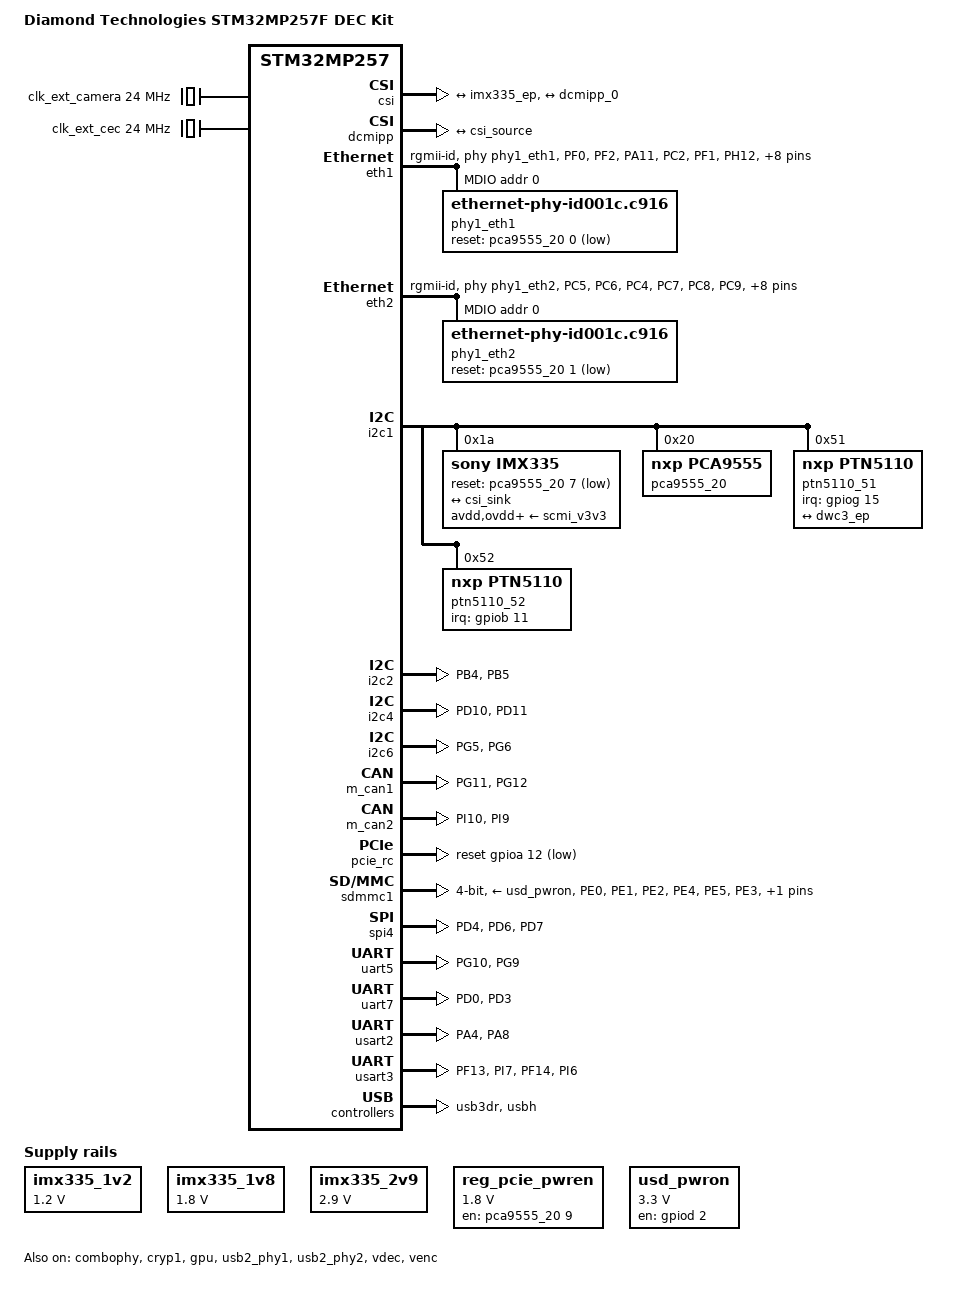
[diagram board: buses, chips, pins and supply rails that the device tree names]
// SPDX-License-Identifier: (GPL-2.0-only OR BSD-3-Clause)
/*
 * Copyright (C) 2026 Diamond Technologies
 *
 * Diamond Technologies STM32MP257F DEC Kit
 * (DEC SOM on DEC carrier board)
 */

/dts-v1/;

#include <dt-bindings/pinctrl/stm32-pinfunc.h>
#include <dt-bindings/gpio/gpio.h>
#include <dt-bindings/input/input.h>
#include <dt-bindings/leds/common.h>
#include <dt-bindings/rtc/rtc-stm32.h>
#include <dt-bindings/usb/pd.h>
#include <dt-bindings/regulator/st,stm32mp25-regulator.h>

#include "stm32mp257.dtsi"
#include "stm32mp25xf.dtsi"
#include "stm32mp25xxak-pinctrl.dtsi"
#include "stm32mp-dec-som.dtsi"

/ {
	model = "Diamond Technologies STM32MP257F DEC Kit";
	compatible = "dec,stm32mp257f-dec-kit", "st,stm32mp257";

	aliases {
		ethernet0 = &eth1;
		ethernet1 = &eth2;
		serial0 = &usart2;
		serial1 = &usart3;
		serial2 = &lpuart1;
	};

	chosen {
		stdout-path = "serial0:115200n8";
		#address-cells = <2>;
		#size-cells = <2>;
		ranges;

		framebuffer {
			compatible = "simple-framebuffer";
			clocks = <&rcc CK_BUS_LTDC>, <&rcc CK_KER_LTDC>,
				 <&rcc CK_BUS_LVDS>, <&rcc CK_KER_LVDSPHY>;
			status = "disabled";
		};
	};

	clocks {
		clk_ext_camera: clk-ext-camera {
			#clock-cells = <0>;
			compatible = "fixed-clock";
			clock-frequency = <24000000>;
		};

		clk_ext_cec: clk-ext-cec {
			#clock-cells = <0>;
			compatible = "fixed-clock";
			clock-frequency = <24000000>;
		};
	};

	imx335_1v2: imx335-1v2 {
		compatible = "regulator-fixed";
		regulator-name = "imx335-dvdd";
		regulator-min-microvolt = <1200000>;
		regulator-max-microvolt = <1200000>;
		regulator-always-on;
	};

	imx335_1v8: imx335-1v8 {
		compatible = "regulator-fixed";
		regulator-name = "imx335-ovdd";
		regulator-min-microvolt = <1800000>;
		regulator-max-microvolt = <1800000>;
		regulator-always-on;
	};

	imx335_2v9: imx335-2v9 {
		compatible = "regulator-fixed";
		regulator-name = "imx335-avdd";
		regulator-min-microvolt = <2900000>;
		regulator-max-microvolt = <2900000>;
		regulator-always-on;
	};

	reg_pcie_pwren: regulator-pcie-pwren {
		compatible = "regulator-fixed";
		regulator-name = "pcie-pwren";
		regulator-min-microvolt = <1800000>;
		regulator-max-microvolt = <1800000>;
		gpio = <&pca9555_20 9 GPIO_ACTIVE_HIGH>;
		enable-active-high;
		regulator-always-on;
		status = "okay";
	};

	usd_pwron: usd-pwron {
		compatible = "regulator-fixed";
		regulator-name = "usd-pwron";
		regulator-min-microvolt = <3300000>;
		regulator-max-microvolt = <3300000>;
		gpio = <&gpiod 2 GPIO_ACTIVE_HIGH>;
		enable-active-high;
	};
};

&combophy {
	clocks = <&rcc CK_BUS_USB3PCIEPHY>, <&rcc CK_KER_USB3PCIEPHY>;
	clock-names = "apb-clk", "ker-clk";
	st,rx_equalizer = <1>;
	status = "okay";
};

&cryp1 {
	status = "okay";
};

&csi {
	vdd-supply = <&scmi_vddcore>;
	vdda18-supply = <&scmi_v1v8>;
	status = "okay";

	ports {
		#address-cells = <1>;
		#size-cells = <0>;

		port@0 {
			reg = <0>;
			csi_sink: endpoint {
				remote-endpoint = <&imx335_ep>;
				data-lanes = <1 2>;
				bus-type = <4>;
			};
		};

		port@1 {
			reg = <1>;
			csi_source: endpoint {
				remote-endpoint = <&dcmipp_0>;
			};
		};
	};
};

&dcmipp {
	status = "okay";

	port {
		dcmipp_0: endpoint {
			remote-endpoint = <&csi_source>;
			bus-type = <4>;
		};
	};
};

&eth1 {
	pinctrl-names = "default", "sleep";
	pinctrl-0 = <&eth1_mdio_pins_mx>, <&eth1_rgmii_pins_mx>;
	pinctrl-1 = <&eth1_mdio_sleep_pins_mx>, <&eth1_rgmii_sleep_pins_mx>;
	phy-mode = "rgmii-id";
	max-speed = <1000>;
	phy-handle = <&phy1_eth1>;
	st,eth-ptp-from-rcc;
	st,eth-clk-sel;
	snps,ext-systime;
	status = "okay";

	mdio1 {
		#address-cells = <1>;
		#size-cells = <0>;
		compatible = "snps,dwmac-mdio";

		phy1_eth1: ethernet-phy@0 {
			compatible = "ethernet-phy-id001c.c916";
			reset-gpios = <&pca9555_20 0 GPIO_ACTIVE_LOW>;
			reset-assert-us = <10000>;
			reset-deassert-us = <80000>;
			realtek,eee-disable;
			reg = <0>;
		};
	};
};

&eth2 {
	pinctrl-names = "default", "sleep";
	pinctrl-0 = <&eth2_mdio_pins_mx>, <&eth2_rgmii_pins_mx>;
	pinctrl-1 = <&eth2_mdio_sleep_pins_mx>, <&eth2_rgmii_sleep_pins_mx>;
	phy-mode = "rgmii-id";
	max-speed = <1000>;
	phy-handle = <&phy1_eth2>;
	st,eth-ptp-from-rcc;
	st,eth-clk-sel;
	snps,ext-systime;
	status = "okay";

	mdio1 {
		#address-cells = <1>;
		#size-cells = <0>;
		compatible = "snps,dwmac-mdio";

		phy1_eth2: ethernet-phy@0 {
			compatible = "ethernet-phy-id001c.c916";
			reset-gpios = <&pca9555_20 1 GPIO_ACTIVE_LOW>;
			reset-assert-us = <10000>;
			reset-deassert-us = <80000>;
			realtek,eee-disable;
			reg = <0>;
		};
	};
};

&gpu {
	contiguous-area = <&gpu_reserved>;
	status = "okay";
};

&hpdma {
	memory-region = <&hpdma1_lli>;
	status = "okay";
};

&hpdma2 {
	memory-region = <&hpdma2_lli>;
	status = "okay";
};

&hpdma3 {
	memory-region = <&hpdma3_lli>;
	status = "okay";
};

/* I2C1 carrier-side children (controller config + on-SOM children are in SOM dtsi) */
&i2c1 {
	imx335: camera@1a {
		compatible = "sony,imx335";
		reg = <0x1a>;
		clocks = <&clk_ext_camera>;
		avdd-supply = <&scmi_v3v3>;
		ovdd-supply = <&scmi_v3v3>;
		dvdd-supply = <&scmi_v3v3>;
		reset-gpios = <&pca9555_20 7 GPIO_ACTIVE_LOW>;
		status = "okay";

		port {
			imx335_ep: endpoint {
				remote-endpoint = <&csi_sink>;
				clock-lanes = <0>;
				data-lanes = <1 2>;
				link-frequencies = /bits/ 64 <594000000>;
			};
		};
	};

	pca9555_20: pca9555@20 {
		compatible = "nxp,pca9555";
		gpio-controller;
		#gpio-cells = <2>;
		reg = <0x20>;
		gpio-line-names =
			"pca9555_20-0",  "pca9555_20-1",  "pca9555_20-2",  "pca9555_20-3",
			"pca9555_20-4",  "pca9555_20-5",  "pca9555_20-6",  "pca9555_20-7",
			"pca9555_20-8",  "pca9555_20-9",  "pca9555_20-10", "pca9555_20-11",
			"pca9555_20-12", "pca9555_20-13", "pca9555_20-14", "pca9555_20-15";
	};

	ptn5110_51: tcpc@51 {
		compatible = "nxp,ptn5110";
		reg = <0x51>;
		pinctrl-0 = <&ptn5110_51_pins>;
		interrupt-parent = <&gpiog>;
		/*
		 * PTN5110's nALERT is open-drain, asserted low, and stays low
		 * until the driver clears every event in the ALERT register.
		 * Edge-triggered IRQs lose any event the driver fails to clear
		 * on the first pass — there's no second falling edge while
		 * nALERT is still held low. Level-low retriggers the handler
		 * until the chip actually releases the line.
		 */
		interrupts = <15 IRQ_TYPE_LEVEL_LOW>;
		status = "okay";

		usbc_a_con: connector {
			compatible = "usb-c-connector";
			label = "USB-C(A)";
			power-role = "dual";
			data-role = "dual";
			try-power-role = "sink";
			source-pdos = <PDO_FIXED(5000, 3000, PDO_FIXED_USB_COMM)>;
			sink-pdos = <PDO_FIXED(5000, 3000, PDO_FIXED_USB_COMM)
				     PDO_VAR(5000, 20000, 3000)>;
			op-sink-microwatt = <15000000>;
			self-powered;
			status = "okay";

			port {
				typec_a_ep: endpoint {
					remote-endpoint = <&dwc3_ep>;
				};
			};
		};
	};

	ptn5110_52: tcpc@52 {
		compatible = "nxp,ptn5110";
		reg = <0x52>;
		pinctrl-0 = <&ptn5110_52_pins>;
		interrupt-parent = <&gpiob>;
		/* See comment on ptn5110_51 — same open-drain alert. */
		interrupts = <11 IRQ_TYPE_LEVEL_LOW>;
		status = "okay";

		usbc_c_con: connector {
			compatible = "usb-c-connector";
			label = "USB-C(C)";
			power-role = "source";
			data-role = "host";
			source-pdos = <PDO_FIXED(5000, 3000, PDO_FIXED_USB_COMM)>;
			self-powered;
			status = "okay";
		};
	};
};

&i2c2 {
	pinctrl-names = "default", "sleep";
	pinctrl-0 = <&i2c2_pins_mx>;
	pinctrl-1 = <&i2c2_sleep_pins_mx>;
	status = "okay";
};

&i2c4 {
	pinctrl-names = "default", "sleep";
	pinctrl-0 = <&i2c4_pins_mx>;
	pinctrl-1 = <&i2c4_sleep_pins_mx>;
	status = "okay";
};

&i2c6 {
	pinctrl-names = "default", "sleep";
	pinctrl-0 = <&i2c6_pins_mx>;
	pinctrl-1 = <&i2c6_sleep_pins_mx>;
	status = "okay";
};

&ltdc {
	status = "disabled";
};

&lvds {
	status = "disabled";
};

&m_can1 {
	pinctrl-names = "default", "sleep";
	pinctrl-0 = <&fdcan1_pins_mx>;
	pinctrl-1 = <&fdcan1_sleep_pins_mx>;
	status = "okay";
};

&m_can2 {
	pinctrl-names = "default", "sleep";
	pinctrl-0 = <&fdcan2_pins_mx>;
	pinctrl-1 = <&fdcan2_sleep_pins_mx>;
	status = "okay";
};

&pcie_rc {
	power-supply = <&reg_pcie_pwren>;
	reset-gpios = <&gpioa 12 GPIO_ACTIVE_LOW>;
	wakeup-source;
	wake-gpios = <&gpioh 9 (GPIO_ACTIVE_LOW | GPIO_PULL_UP)>;
	status = "okay";
};

&pinctrl {
	eth1_mdio_pins_mx: eth1_mdio_mx-0 {
		pins1 {
			pinmux = <STM32_PINMUX('F', 0, AF10)>; /* ETH1_MDC */
			bias-disable;
			drive-push-pull;
			slew-rate = <2>;
			st,io-clk-edge = <0>;
			st,io-retime = <0>;
			st,io-delay-path = <0>;
			st,io-delay = <0>;
		};
		pins2 {
			pinmux = <STM32_PINMUX('F', 2, AF10)>; /* ETH1_MDIO */
			bias-disable;
			drive-push-pull;
			slew-rate = <0>;
			st,io-clk-edge = <0>;
			st,io-retime = <0>;
			st,io-delay-path = <0>;
			st,io-delay = <0>;
		};
	};

	eth1_mdio_sleep_pins_mx: eth1_mdio_sleep_mx-0 {
		pins {
			pinmux = <STM32_PINMUX('F', 0, ANALOG)>,
				 <STM32_PINMUX('F', 2, ANALOG)>;
		};
	};

	eth1_rgmii_pins_mx: eth1_rgmii_mx-0 {
		pins1 {
			pinmux = <STM32_PINMUX('A', 11, AF10)>, /* ETH1_RGMII_RX_CTL */
				 <STM32_PINMUX('C', 2, AF10)>,  /* ETH1_RGMII_RXD1 */
				 <STM32_PINMUX('F', 1, AF10)>,  /* ETH1_RGMII_RXD0 */
				 <STM32_PINMUX('H', 12, AF10)>, /* ETH1_RGMII_RXD2 */
				 <STM32_PINMUX('H', 13, AF10)>; /* ETH1_RGMII_RXD3 */
			bias-disable;
			drive-push-pull;
			st,io-clk-edge = <1>;
			st,io-retime = <1>;
			st,io-delay-path = <0>;
			st,io-delay = <0>;
		};
		pins2 {
			pinmux = <STM32_PINMUX('A', 13, AF10)>, /* ETH1_RGMII_TX_CTL */
				 <STM32_PINMUX('A', 15, AF10)>, /* ETH1_RGMII_TXD0 */
				 <STM32_PINMUX('C', 1, AF10)>,  /* ETH1_RGMII_TXD1 */
				 <STM32_PINMUX('H', 10, AF10)>, /* ETH1_RGMII_TXD2 */
				 <STM32_PINMUX('H', 11, AF10)>; /* ETH1_RGMII_TXD3 */
			bias-disable;
			drive-push-pull;
			slew-rate = <2>;
			st,io-clk-edge = <1>;
			st,io-retime = <1>;
			st,io-delay-path = <0>;
			st,io-delay = <0>;
		};
		pins3 {
			pinmux = <STM32_PINMUX('A', 14, AF10)>; /* ETH1_RGMII_RX_CLK */
			bias-disable;
			drive-push-pull;
			slew-rate = <0>;
		};
		pins4 {
			pinmux = <STM32_PINMUX('C', 0, AF12)>; /* ETH1_RGMII_GTX_CLK */
			bias-disable;
			drive-push-pull;
			slew-rate = <1>;
		};
	};

	eth1_rgmii_sleep_pins_mx: eth1_rgmii_sleep_mx-0 {
		pins {
			pinmux = <STM32_PINMUX('A', 11, ANALOG)>,
				 <STM32_PINMUX('A', 13, ANALOG)>,
				 <STM32_PINMUX('A', 14, ANALOG)>,
				 <STM32_PINMUX('A', 15, ANALOG)>,
				 <STM32_PINMUX('C', 0, ANALOG)>,
				 <STM32_PINMUX('C', 1, ANALOG)>,
				 <STM32_PINMUX('C', 2, ANALOG)>,
				 <STM32_PINMUX('F', 1, ANALOG)>,
				 <STM32_PINMUX('H', 10, ANALOG)>,
				 <STM32_PINMUX('H', 11, ANALOG)>,
				 <STM32_PINMUX('H', 12, ANALOG)>,
				 <STM32_PINMUX('H', 13, ANALOG)>;
		};
	};

	eth2_mdio_pins_mx: eth2_mdio_mx-0 {
		pins1 {
			pinmux = <STM32_PINMUX('C', 5, AF10)>; /* ETH2_MDIO */
			bias-disable;
			drive-push-pull;
			slew-rate = <0>;
		};
		pins2 {
			pinmux = <STM32_PINMUX('C', 6, AF10)>; /* ETH2_MDC */
			bias-disable;
			drive-push-pull;
			slew-rate = <2>;
		};
	};

	eth2_mdio_sleep_pins_mx: eth2_mdio_sleep_mx-0 {
		pins {
			pinmux = <STM32_PINMUX('C', 5, ANALOG)>,
				 <STM32_PINMUX('C', 6, ANALOG)>;
		};
	};

	eth2_rgmii_pins_mx: eth2_rgmii_mx-0 {
		pins1 {
			pinmux = <STM32_PINMUX('C', 4, AF10)>,  /* ETH2_RGMII_TX_CTL */
				 <STM32_PINMUX('C', 7, AF10)>,  /* ETH2_RGMII_TXD0 */
				 <STM32_PINMUX('C', 8, AF10)>,  /* ETH2_RGMII_TXD1 */
				 <STM32_PINMUX('C', 9, AF10)>,  /* ETH2_RGMII_TXD2 */
				 <STM32_PINMUX('C', 10, AF10)>; /* ETH2_RGMII_TXD3 */
			bias-disable;
			drive-push-pull;
			slew-rate = <2>;
			st,io-clk-edge = <1>;
			st,io-retime = <1>;
		};
		pins2 {
			pinmux = <STM32_PINMUX('C', 3, AF10)>,  /* ETH2_RGMII_RX_CTL */
				 <STM32_PINMUX('C', 11, AF10)>, /* ETH2_RGMII_RXD3 */
				 <STM32_PINMUX('C', 12, AF10)>, /* ETH2_RGMII_RXD1 */
				 <STM32_PINMUX('F', 9, AF10)>,  /* ETH2_RGMII_RXD2 */
				 <STM32_PINMUX('G', 0, AF10)>;  /* ETH2_RGMII_RXD0 */
			bias-disable;
			drive-push-pull;
			st,io-clk-edge = <1>;
			st,io-retime = <1>;
		};
		pins3 {
			pinmux = <STM32_PINMUX('F', 6, AF10)>; /* ETH2_RGMII_RX_CLK */
			bias-disable;
			drive-push-pull;
			slew-rate = <0>;
		};
		pins4 {
			pinmux = <STM32_PINMUX('F', 7, AF10)>; /* ETH2_RGMII_GTX_CLK */
			bias-disable;
			drive-push-pull;
			slew-rate = <1>;
		};
	};

	eth2_rgmii_sleep_pins_mx: eth2_rgmii_sleep_mx-0 {
		pins {
			pinmux = <STM32_PINMUX('C', 3, ANALOG)>,
				 <STM32_PINMUX('C', 4, ANALOG)>,
				 <STM32_PINMUX('C', 7, ANALOG)>,
				 <STM32_PINMUX('C', 8, ANALOG)>,
				 <STM32_PINMUX('C', 9, ANALOG)>,
				 <STM32_PINMUX('C', 10, ANALOG)>,
				 <STM32_PINMUX('C', 11, ANALOG)>,
				 <STM32_PINMUX('C', 12, ANALOG)>,
				 <STM32_PINMUX('F', 6, ANALOG)>,
				 <STM32_PINMUX('F', 7, ANALOG)>,
				 <STM32_PINMUX('F', 9, ANALOG)>,
				 <STM32_PINMUX('G', 0, ANALOG)>;
		};
	};

	fdcan1_pins_mx: fdcan1_mx-0 {
		pins1 {
			pinmux = <STM32_PINMUX('G', 11, AF7)>;
			bias-disable;
			drive-push-pull;
			slew-rate = <0>;
		};
		pins2 {
			pinmux = <STM32_PINMUX('G', 12, AF7)>;
			bias-disable;
			drive-push-pull;
		};
	};

	fdcan1_sleep_pins_mx: fdcan1_sleep_mx-0 {
		pins {
			pinmux = <STM32_PINMUX('G', 11, ANALOG)>,
				 <STM32_PINMUX('G', 12, ANALOG)>;
		};
	};

	fdcan2_pins_mx: fdcan2_mx-0 {
		pins1 {
			pinmux = <STM32_PINMUX('I', 10, AF4)>;
			bias-disable;
			drive-push-pull;
		};
		pins2 {
			pinmux = <STM32_PINMUX('I', 9, AF4)>;
			bias-disable;
			drive-push-pull;
			slew-rate = <0>;
		};
	};

	fdcan2_sleep_pins_mx: fdcan2_sleep_mx-0 {
		pins {
			pinmux = <STM32_PINMUX('I', 9, ANALOG)>,
				 <STM32_PINMUX('I', 10, ANALOG)>;
		};
	};

	i2c2_pins_mx: i2c2_mx-0 {
		pins {
			pinmux = <STM32_PINMUX('B', 4, AF9)>, /* I2C2_SDA */
				 <STM32_PINMUX('B', 5, AF9)>; /* I2C2_SCL */
			bias-disable;
			drive-open-drain;
			slew-rate = <0>;
		};
	};

	i2c2_sleep_pins_mx: i2c2_sleep_mx-0 {
		pins {
			pinmux = <STM32_PINMUX('B', 4, ANALOG)>,
				 <STM32_PINMUX('B', 5, ANALOG)>;
		};
	};

	i2c4_pins_mx: i2c4_mx-0 {
		pins {
			pinmux = <STM32_PINMUX('D', 10, AF6)>,
				 <STM32_PINMUX('D', 11, AF6)>;
			bias-disable;
			drive-open-drain;
			slew-rate = <0>;
		};
	};

	i2c4_sleep_pins_mx: i2c4_sleep_mx-0 {
		pins {
			pinmux = <STM32_PINMUX('D', 10, ANALOG)>,
				 <STM32_PINMUX('D', 11, ANALOG)>;
		};
	};

	i2c6_pins_mx: i2c6_mx-0 {
		pins {
			pinmux = <STM32_PINMUX('G', 5, AF9)>,
				 <STM32_PINMUX('G', 6, AF9)>;
			bias-disable;
			drive-open-drain;
			slew-rate = <0>;
		};
	};

	i2c6_sleep_pins_mx: i2c6_sleep_mx-0 {
		pins {
			pinmux = <STM32_PINMUX('G', 5, ANALOG)>,
				 <STM32_PINMUX('G', 6, ANALOG)>;
		};
	};

	ptn5110_51_pins: ptn5110_51_pins-0 {
		pins {
			pinmux = <STM32_PINMUX('G', 15, GPIO)>; /* USB_A_nALERT_1V8 */
			bias-pull-up;
		};
	};

	ptn5110_52_pins: ptn5110_52_pins-0 {
		pins {
			pinmux = <STM32_PINMUX('B', 11, GPIO)>; /* USB_C_nALERT_1V8 */
			bias-pull-up;
		};
	};

	sdmmc1_opendrain_pins_mx: sdmmc1_opendrain_mx-0 {
		pins1 {
			pinmux = <STM32_PINMUX('E', 0, AF10)>,
				 <STM32_PINMUX('E', 1, AF10)>,
				 <STM32_PINMUX('E', 4, AF10)>,
				 <STM32_PINMUX('E', 5, AF10)>;
			bias-pull-up;
			drive-push-pull;
			slew-rate = <1>;
		};
		pins2 {
			pinmux = <STM32_PINMUX('E', 2, AF10)>;
			bias-pull-up;
			drive-open-drain;
			slew-rate = <1>;
		};
		pins3 {
			pinmux = <STM32_PINMUX('E', 3, AF10)>;
			bias-pull-up;
			drive-push-pull;
			slew-rate = <2>;
		};
	};

	sdmmc1_pins_mx: sdmmc1_mx-0 {
		pins1 {
			pinmux = <STM32_PINMUX('E', 0, AF10)>,
				 <STM32_PINMUX('E', 1, AF10)>,
				 <STM32_PINMUX('E', 2, AF10)>,
				 <STM32_PINMUX('E', 4, AF10)>,
				 <STM32_PINMUX('E', 5, AF10)>;
			bias-pull-up;
			drive-push-pull;
			slew-rate = <1>;
		};
		pins2 {
			pinmux = <STM32_PINMUX('E', 3, AF10)>;
			bias-pull-up;
			drive-push-pull;
			slew-rate = <2>;
		};
	};

	sdmmc1_sleep_pins_mx: sdmmc1_sleep_mx-0 {
		pins {
			pinmux = <STM32_PINMUX('E', 0, ANALOG)>,
				 <STM32_PINMUX('E', 1, ANALOG)>,
				 <STM32_PINMUX('E', 2, ANALOG)>,
				 <STM32_PINMUX('E', 3, ANALOG)>,
				 <STM32_PINMUX('E', 4, ANALOG)>,
				 <STM32_PINMUX('E', 5, ANALOG)>;
		};
	};

	spi4_pins_mx: spi4_mx-0 {
		pins {
			pinmux = <STM32_PINMUX('D', 4, AF1)>,
				 <STM32_PINMUX('D', 6, AF1)>,
				 <STM32_PINMUX('D', 7, AF1)>;
			bias-disable;
			drive-push-pull;
			slew-rate = <0>;
		};
	};

	spi4_sleep_pins_mx: spi4_sleep_mx-0 {
		pins {
			pinmux = <STM32_PINMUX('D', 4, ANALOG)>,
				 <STM32_PINMUX('D', 6, ANALOG)>,
				 <STM32_PINMUX('D', 7, ANALOG)>;
		};
	};

	uart5_idle_pins_mx: uart5_idle_mx-0 {
		pins1 {
			pinmux = <STM32_PINMUX('G', 10, AF5)>;
			bias-disable;
			drive-push-pull;
		};
		pins2 {
			pinmux = <STM32_PINMUX('G', 9, ANALOG)>;
		};
	};

	uart5_pins_mx: uart5_mx-0 {
		pins1 {
			pinmux = <STM32_PINMUX('G', 10, AF5)>;
			bias-disable;
			drive-push-pull;
		};
		pins2 {
			pinmux = <STM32_PINMUX('G', 9, AF5)>;
			bias-disable;
			drive-push-pull;
			slew-rate = <0>;
		};
	};

	uart5_sleep_pins_mx: uart5_sleep_mx-0 {
		pins {
			pinmux = <STM32_PINMUX('G', 9, ANALOG)>,
				 <STM32_PINMUX('G', 10, ANALOG)>;
		};
	};

	uart7_idle_pins_mx: uart7_idle_mx-0 {
		pins1 {
			pinmux = <STM32_PINMUX('D', 0, AF6)>;
			bias-disable;
			drive-push-pull;
		};
		pins2 {
			pinmux = <STM32_PINMUX('D', 3, ANALOG)>;
		};
	};

	uart7_pins_mx: uart7_mx-0 {
		pins1 {
			pinmux = <STM32_PINMUX('D', 0, AF6)>;
			bias-disable;
			drive-push-pull;
		};
		pins2 {
			pinmux = <STM32_PINMUX('D', 3, AF6)>;
			bias-disable;
			drive-push-pull;
			slew-rate = <0>;
		};
	};

	uart7_sleep_pins_mx: uart7_sleep_mx-0 {
		pins {
			pinmux = <STM32_PINMUX('D', 0, ANALOG)>,
				 <STM32_PINMUX('D', 3, ANALOG)>;
		};
	};

	usart2_idle_pins_mx: usart2_idle_mx-0 {
		pins1 {
			pinmux = <STM32_PINMUX('A', 4, ANALOG)>;
		};
		pins2 {
			pinmux = <STM32_PINMUX('A', 8, AF8)>;
			bias-disable;
			drive-push-pull;
		};
	};

	usart2_pins_mx: usart2_mx-0 {
		pins1 {
			pinmux = <STM32_PINMUX('A', 4, AF6)>; /* USART2_TX */
			bias-disable;
			drive-push-pull;
			slew-rate = <0>;
		};
		pins2 {
			pinmux = <STM32_PINMUX('A', 8, AF8)>; /* USART2_RX */
			bias-disable;
			drive-push-pull;
		};
	};

	usart2_sleep_pins_mx: usart2_sleep_mx-0 {
		pins {
			pinmux = <STM32_PINMUX('A', 4, ANALOG)>,
				 <STM32_PINMUX('A', 8, ANALOG)>;
		};
	};

	usart3_idle_pins_mx: usart3_idle_mx-0 {
		pins1 {
			pinmux = <STM32_PINMUX('F', 13, ANALOG)>,
				 <STM32_PINMUX('I', 6, ANALOG)>;
		};
		pins2 {
			pinmux = <STM32_PINMUX('F', 14, AF6)>;
			bias-disable;
			drive-push-pull;
			slew-rate = <0>;
		};
		pins3 {
			pinmux = <STM32_PINMUX('I', 7, AF6)>;
			bias-disable;
			drive-push-pull;
		};
	};

	usart3_pins_mx: usart3_mx-0 {
		pins1 {
			pinmux = <STM32_PINMUX('F', 13, AF6)>, /* USART3_CTS */
				 <STM32_PINMUX('I', 7, AF6)>;  /* USART3_RX */
			bias-disable;
			drive-push-pull;
		};
		pins2 {
			pinmux = <STM32_PINMUX('F', 14, AF6)>, /* USART3_RTS */
				 <STM32_PINMUX('I', 6, AF6)>;  /* USART3_TX */
			bias-disable;
			drive-push-pull;
			slew-rate = <0>;
		};
	};

	usart3_sleep_pins_mx: usart3_sleep_mx-0 {
		pins {
			pinmux = <STM32_PINMUX('F', 13, ANALOG)>,
				 <STM32_PINMUX('F', 14, ANALOG)>,
				 <STM32_PINMUX('I', 6, ANALOG)>,
				 <STM32_PINMUX('I', 7, ANALOG)>;
		};
	};
};

&sdmmc1 {
	pinctrl-names = "default", "opendrain", "sleep";
	pinctrl-0 = <&sdmmc1_pins_mx>;
	pinctrl-1 = <&sdmmc1_opendrain_pins_mx>;
	pinctrl-2 = <&sdmmc1_sleep_pins_mx>;
	cd-gpios = <&gpiod 9 GPIO_ACTIVE_LOW>;
	disable-wp;
	st,neg-edge;
	bus-width = <4>;
	vmmc-supply = <&usd_pwron>;
	vqmmc-supply = <&scmi_vddio1>;
	sd-uhs-sdr12;
	sd-uhs-sdr25;
	sd-uhs-sdr50;
	sd-uhs-ddr50;
	sd-uhs-sdr104;
	status = "okay";
};

&spi4 {
	pinctrl-names = "default", "sleep";
	pinctrl-0 = <&spi4_pins_mx>;
	pinctrl-1 = <&spi4_sleep_pins_mx>;
	status = "okay";
};

&uart5 {
	pinctrl-names = "default", "idle", "sleep";
	pinctrl-0 = <&uart5_pins_mx>;
	pinctrl-1 = <&uart5_idle_pins_mx>;
	pinctrl-2 = <&uart5_sleep_pins_mx>;
	status = "okay";
};

&uart7 {
	pinctrl-names = "default", "idle", "sleep";
	pinctrl-0 = <&uart7_pins_mx>;
	pinctrl-1 = <&uart7_idle_pins_mx>;
	pinctrl-2 = <&uart7_sleep_pins_mx>;
	status = "okay";
};

&usart2 {
	pinctrl-names = "default", "idle", "sleep";
	pinctrl-0 = <&usart2_pins_mx>;
	pinctrl-1 = <&usart2_idle_pins_mx>;
	pinctrl-2 = <&usart2_sleep_pins_mx>;
	status = "okay";
};

&usart3 {
	pinctrl-names = "default", "idle", "sleep";
	pinctrl-0 = <&usart3_pins_mx>;
	pinctrl-1 = <&usart3_idle_pins_mx>;
	pinctrl-2 = <&usart3_sleep_pins_mx>;
	status = "okay";
};

&usb2_phy1 {
	vdd33-supply = <&scmi_vdd3v3_usb>;
	status = "okay";
};

&usb2_phy2 {
	vdd33-supply = <&scmi_vdd3v3_usb>;
	status = "okay";
};

&usb3dr {
	status = "okay";

	dwc3: usb@48300000 {
		maximum-speed = "high-speed";
		usb-role-switch;

		port {
			dwc3_ep: endpoint {
				remote-endpoint = <&typec_a_ep>;
			};
		};
	};
};

&usbh {
	status = "okay";
};

&vdec {
	status = "okay";
};

&venc {
	status = "okay";
};
